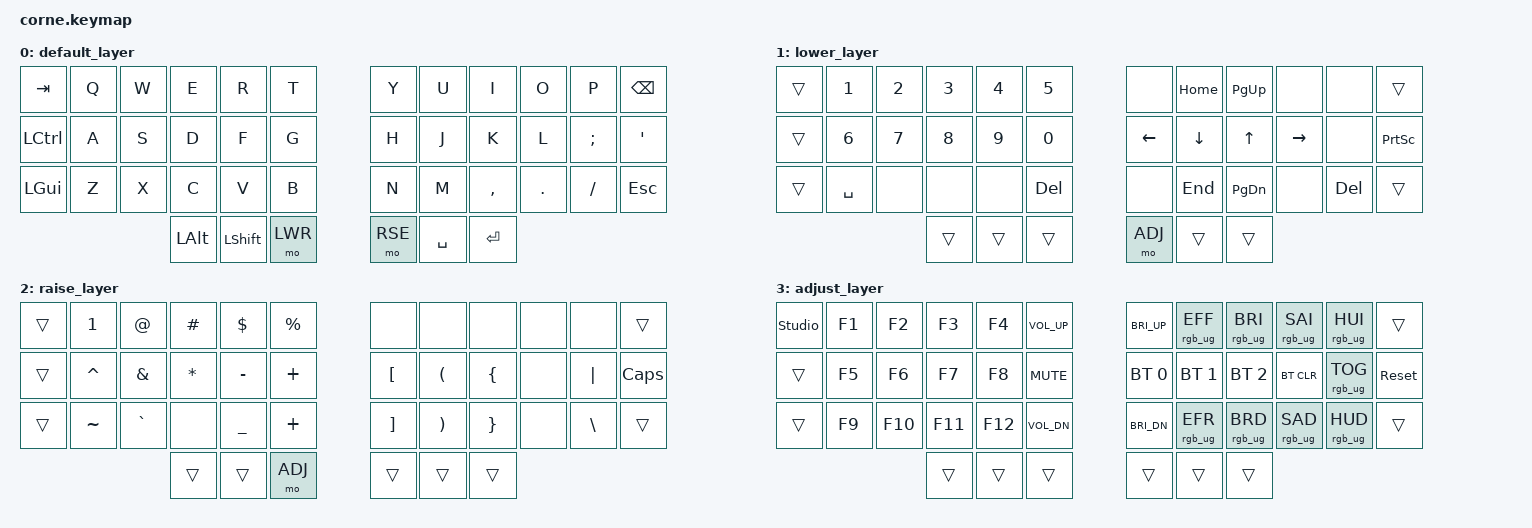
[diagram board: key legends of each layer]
/*
 * Copyright (c) 2020 The ZMK Contributors
 *
 * SPDX-License-Identifier: MIT
 */

#include <behaviors.dtsi>
#include <dt-bindings/zmk/keys.h>
#include <dt-bindings/zmk/bt.h>
#include <dt-bindings/zmk/rgb.h>

#define DFT 0
#define LWR 1
#define RSE 2
#define ADJ 3

/*
 * Corne v3/v4 has 27 RGB LEDs per half (6 underglow + 21 per-key).
 * ZMK's nice_nano_v2 shield overlay defaults chain-length to 10, which only
 * lights the LEDs nearest the controller. Set here because the keymap is
 * applied after the shield overlays, so &led_strip already exists.
 */
&led_strip {
        chain-length = <27>;
};

/ {
        keymap {
                compatible = "zmk,keymap";

                default_layer {
// -----------------------------------------------------------------------------------------
// |  TAB |  Q  |  W  |  E  |  R  |  T  |   |  Y  |  U  |  I  |  O  |  P  | BSPC |
// | CTRL |  A  |  S  |  D  |  F  |  G  |   |  H  |  J  |  K  |  L  |  ;  |  '   |
// |  GUI |  Z  |  X  |  C  |  V  |  B  |   |  N  |  M  |  ,  |  .  |  /  | ESC  |
//                    | ALT | SHFT| LWR |   | RSE | SPC | ENT |
                        bindings = <
   &kp TAB   &kp Q &kp W &kp E &kp R &kp T   &kp Y &kp U &kp I     &kp O   &kp P    &kp BSPC
   &kp LCTRL &kp A &kp S &kp D &kp F &kp G   &kp H &kp J &kp K     &kp L   &kp SEMI &kp SQT
   &kp LGUI  &kp Z &kp X &kp C &kp V &kp B   &kp N &kp M &kp COMMA &kp DOT &kp FSLH &kp ESC
                  &kp LALT &kp LSHFT &mo LWR   &mo RSE &kp SPACE &kp RET
                        >;
                };

                lower_layer {
// -----------------------------------------------------------------------------------------
// |      |  1  |  2  |  3  |  4  |  5  |   |     | HOME| PGUP|     |     |      |
// |      |  6  |  7  |  8  |  9  |  0  |   | LFT | DWN |  UP | RGT |     | PSCR |
// |      | SPC |     |     |     | DEL |   |     | END | PGDN|     | DEL |      |
//                    |     |     |     |   | ADJ |     |     |
                        bindings = <
   &trans &kp N1    &kp N2 &kp N3 &kp N4 &kp N5    &none    &kp HOME &kp PG_UP &none     &none   &trans
   &trans &kp N6    &kp N7 &kp N8 &kp N9 &kp N0    &kp LEFT &kp DOWN &kp UP    &kp RIGHT &none   &kp PSCRN
   &trans &kp SPACE &none  &none  &none  &kp DEL   &none    &kp END  &kp PG_DN &none     &kp DEL &trans
                           &trans &trans &trans    &mo ADJ  &trans   &trans
                        >;
                };

                raise_layer {
// -----------------------------------------------------------------------------------------
// |      |  1  |  @  |  #  |  $  |  %  |   |     |     |     |     |     |      |
// |      |  ^  |  &  |  *  |  -  |  +  |   |  [  |  (  |  {  |     |  |  | CAPS |
// |      |  ~  |  `  |     |  _  |  +  |   |  ]  |  )  |  }  |     |  \  |      |
//                    |     |     | ADJ |   |     |     |     |
                        bindings = <
   &trans &kp N1    &kp AT    &kp HASH  &kp DLLR  &kp PRCNT   &none    &none    &none    &none &none    &trans
   &trans &kp CARET &kp AMPS  &kp ASTRK &kp MINUS &kp PLUS    &kp LBKT &kp LPAR &kp LBRC &none &kp PIPE &kp CAPS
   &trans &kp TILDE &kp GRAVE &none     &kp UNDER &kp PLUS    &kp RBKT &kp RPAR &kp RBRC &none &kp BSLH &trans
                                &trans    &trans    &mo ADJ     &trans   &trans   &trans
                        >;
                };

                adjust_layer {
// -----------------------------------------------------------------------------------------
// |UNLOCK|  F1 |  F2 |  F3 |  F4 | VOL+|   | SCR+| RGBM| BRI+| SAT+| HUE+|      |
// |      |  F5 |  F6 |  F7 |  F8 | MUTE|   | BT0 | BT1 | BT2 |BTCLR| RGBT| BOOT |
// |      |  F9 | F10 | F11 | F12 | VOL-|   | SCR-| RGBR| BRI-| SAT-| HUE-|      |
//                    |     |     |     |   |     |     |     |
// BT0/BT1/BT2 = select BT profile, BTCLR = clear current profile's pairing
// (not in QMK source; those slots were KC_NO there).
// UNLOCK = &studio_unlock, required before ZMK Studio can edit the keymap.
                        bindings = <
   &studio_unlock &kp F1 &kp F2  &kp F3  &kp F4  &kp C_VOL_UP   &kp C_BRI_UP &rgb_ug RGB_EFF &rgb_ug RGB_BRI &rgb_ug RGB_SAI &rgb_ug RGB_HUI &trans
   &trans         &kp F5 &kp F6  &kp F7  &kp F8  &kp C_MUTE     &bt BT_SEL 0 &bt BT_SEL 1    &bt BT_SEL 2    &bt BT_CLR      &rgb_ug RGB_TOG &sys_reset
   &trans         &kp F9 &kp F10 &kp F11 &kp F12 &kp C_VOL_DN   &kp C_BRI_DN &rgb_ug RGB_EFR &rgb_ug RGB_BRD &rgb_ug RGB_SAD &rgb_ug RGB_HUD &trans
                                 &trans  &trans  &trans         &trans       &trans          &trans
                        >;
                };
        };
};
